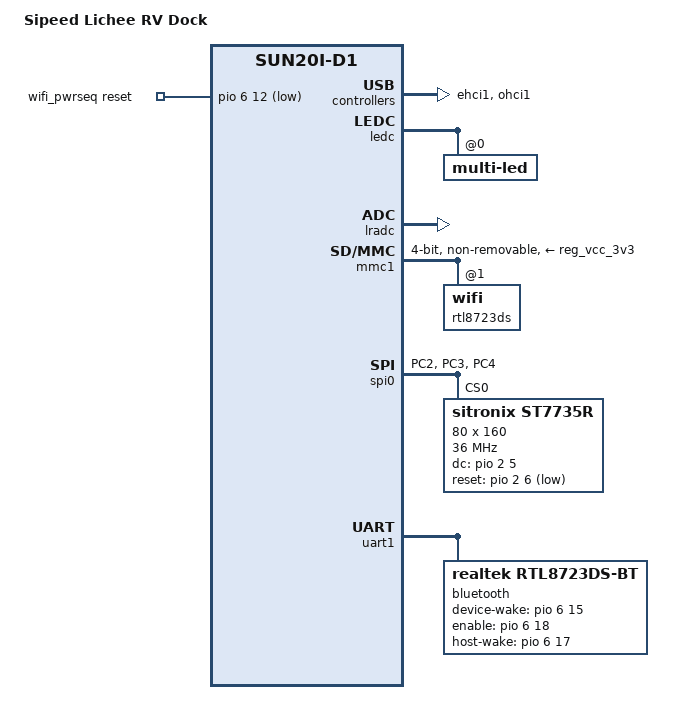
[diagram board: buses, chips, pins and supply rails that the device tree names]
// SPDX-License-Identifier: (GPL-2.0+ or MIT)
// Copyright (C) 2022 Jisheng Zhang <jszhang@kernel.org>
// Copyright (C) 2022 Samuel Holland <samuel@sholland.org>

#include <dt-bindings/input/input.h>

#include "sun20i-d1-lichee-rv.dts"

/ {
	model = "Sipeed Lichee RV Dock";
	compatible = "sipeed,lichee-rv-dock", "sipeed,lichee-rv",
		     "allwinner,sun20i-d1";

	aliases {
		ethernet1 = &rtl8723ds;
	};

	wifi_pwrseq: wifi-pwrseq {
		compatible = "mmc-pwrseq-simple";
		reset-gpios = <&pio 6 12 GPIO_ACTIVE_LOW>; /* PG12 */
	};

	addr_mgt: addr_mgt@0 {
		compatible     = "allwinner,sunxi-addr_mgt";
		type_addr_wifi = <0x0>;
		type_addr_bt   = <0x0>;
		type_addr_eth  = <0x0>;
		status         = "okay";
	};
};

&ehci1 {
	status = "okay";
};

&ledc {
	pinctrl-0 = <&ledc_pc0_pin>;
	pinctrl-names = "default";
	status = "okay";

	multi-led@0 {
		reg = <0x0>;
		color = <LED_COLOR_ID_RGB>;
		function = LED_FUNCTION_STATUS;
	};
};

&lradc {
	status = "okay";

	button-220 {
		label = "OK";
		linux,code = <KEY_OK>;
		channel = <0>;
		voltage = <220000>;
	};
};

&mmc1 {
	bus-width = <4>;
	mmc-pwrseq = <&wifi_pwrseq>;
	non-removable;
	vmmc-supply = <&reg_vcc_3v3>;
	vqmmc-supply = <&reg_vcc_3v3>;
	pinctrl-0 = <&mmc1_pins>;
	pinctrl-names = "default";
	status = "okay";

	rtl8723ds: wifi@1 {
		reg = <1>;
	};
};

&ohci1 {
	status = "okay";
};

&pio {
	spi0_3wire_pins: spi0@0 {
		pins = "PC2", "PC3", "PC4"; /*clk cs mosi*/
		function = "spi0";
		muxsel = <2>;
		drive-strength = <10>;
	};
};

&spi0 {
	status = "okay";
	pinctrl-0 = <&spi0_3wire_pins>;
	pinctrl-names = "default";

	st7735r@0 {
		compatible = "sitronix,st7735r";
		reg = <0x00>;
		spi-max-frequency = <36000000>;
		spi-cpol;
		spi-cpha;
		width = <80>;
		height = <160>;
		rotate = <90>;
		fps = <60>;
		bgr = <1>;
		buswidth = <8>;
		dc-gpios = <&pio 2 5 GPIO_ACTIVE_HIGH>;
		reset-gpios = <&pio 2 6 GPIO_ACTIVE_LOW>;
		//led-gpios = <&pio 3 18 GPIO_ACTIVE_HIGH>;
		debug = <0>;
		status = "okay";
	};
};

&uart1 {
	uart-has-rtscts;
	pinctrl-0 = <&uart1_pg6_pins>, <&uart1_pg8_rts_cts_pins>;
	pinctrl-names = "default";
	status = "okay";

	bluetooth {
		compatible = "realtek,rtl8723ds-bt";
		device-wake-gpios = <&pio 6 15 GPIO_ACTIVE_HIGH>; /* PG16 */
		enable-gpios = <&pio 6 18 GPIO_ACTIVE_HIGH>; /* PG18 */
		host-wake-gpios = <&pio 6 17 GPIO_ACTIVE_HIGH>; /* PG17 */
	};
};

&usbphy {
	usb1_vbus-supply = <&reg_vcc>;
};
